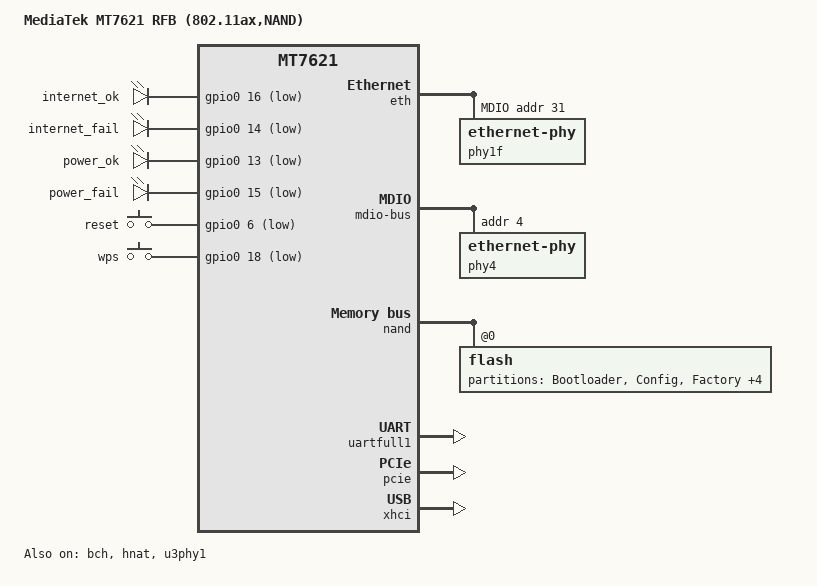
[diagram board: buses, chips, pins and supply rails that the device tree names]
/dts-v1/;

#include "mt7621.dtsi"
#include <dt-bindings/input/input.h>

/ {
	compatible = "mediatek,mt7621-rfb-ax-nand", "mediatek,mt7621-soc";
	model = "MediaTek MT7621 RFB (802.11ax,NAND)";

	chosen {
		bootargs = "console=ttyS0,115200";
	};

	gpio-leds {
		compatible = "gpio-leds";

		internet_ok {
			label = "internet_ok";
			gpios = <&gpio0 16 1>;
			default-state = "off";
		};

		internet_fail {
			label = "internet_fail";
			gpios = <&gpio0 14 1>;
			default-state = "off";
		};

		power_ok {
			label = "power_ok";
			gpios = <&gpio0 13 1>;
			default-state = "off";
		};

		power_fail {
			label = "power_fail";
			gpios = <&gpio0 15 1>;
			default-state = "on";
		};
	};

	gpio-keys-polled {
		compatible = "gpio-keys-polled";
		#address-cells = <1>;
		#size-cells = <0>;
		poll-interval = <20>;

		reset {
			label = "reset";
			gpios = <&gpio0 6 1>;
			linux,code = <KEY_RESTART>;
		};

		wps {
			label = "wps";
			linux,code = <KEY_WPS_BUTTON>;
			gpios = <&gpio0 18 1>;
		};
	};
};

&bch {
	status = "okay";
};

&eth {
        status = "okay";

        gmac0: mac@0 {
                compatible = "mediatek,eth-mac";
                reg = <0>;
                phy-mode = "trgmii";
                fixed-link {
                        speed = <1000>;
                        full-duplex;
                        pause;
                };
        };

        gmac1: mac@1 {
                compatible = "mediatek,eth-mac";
                reg = <1>;
                phy-mode = "rgmii";
                phy-link-handle = <&phy4>;
                fixed-link {
                        speed = <1000>;
                        full-duplex;
                        pause;
                };
        };

        mdio: mdio-bus {
                #address-cells = <1>;
                #size-cells = <0>;

                phy1f: ethernet-phy@1f {
                        reg = <0x1f>;
                        phy-mode = "rgmii";
                };
        };
};

&gsw {
        mediatek,mdio = <&mdio>;
        mediatek,portmap = "llllw";
        mediatek,mcm;

        resets = <&rstctrl 2>;
        reset-names = "mcm";

        port5: port@5 {
                compatible = "mediatek,mt753x-port";
                reg = <5>;
                phy-mode = "rgmii";
                fixed-link {
                        speed = <1000>;
                        full-duplex;
                };
        };

        port6: port@6 {
                compatible = "mediatek,mt753x-port";
                reg = <6>;
                phy-mode = "trgmii";
                fixed-link {
                        speed = <1000>;
                        full-duplex;
                };
        };

        mdio-bus {
                #address-cells = <1>;
                #size-cells = <0>;

				phy4: ethernet-phy@4 {
					reg = <0x4>;
					phy-mode = "gmii";
				};
        };
};

&hnat {
        mtketh-wan = "eth1";
        mtketh-ppd = "eth0";
	ext-devices = "rax0", "ra0", "rax1", "ra1", "rax2", "ra2", "rax3", "ra3", "apclix0", "apcli0";
        mtketh-max-gmac = <2>;
        status = "okay";
};

&nand {
	status = "okay";

	flash@0 {
		reg = <0>;
		nand-ecc-mode = "hw";
		partitions {
			compatible = "fixed-partitions";
			#address-cells = <1>;
			#size-cells = <1>;

			partition@0 {
				label = "Bootloader";
				reg = <0x00000 0x80000>;
				read-only;
			};

			partition@80000 {
				label = "Config";
				reg = <0x80000 0x80000>;
			};

			partition@100000 {
				label = "Factory";
				reg = <0x100000 0x80000>;
			};

			partition@180000 {
				label = "firmware";
				reg = <0x180000 0x2b00000>;
			};

			partition@2c80000 {
				label = "firmware2";
				reg = <0x2c80000 0x2b00000>;
			};

			partition@5780000 {
				label = "Devdata";
				reg = <0x5780000 0x800000>;
			};

			partition@5f80000 {
				label = "User_data";
				reg = <0x5f80000 0x2000000>;
			};
		};
	};
};

&pinctrl {
	state_default: pinctrl0 {
		gpio {
			mtk,group = "i2c", "uart3", "jtag", "wdt";
			mtk,function = "gpio";
		};

		uart2 {
			mtk,group = "uart2";
			mtk,function = "uart2";
		};
	};
};

&uartfull1 {
	status = "okay";
};

&pcie {
	status = "okay";
};

&u3phy1 {
	status = "okay";
};

&xhci {
	status = "okay";
};
